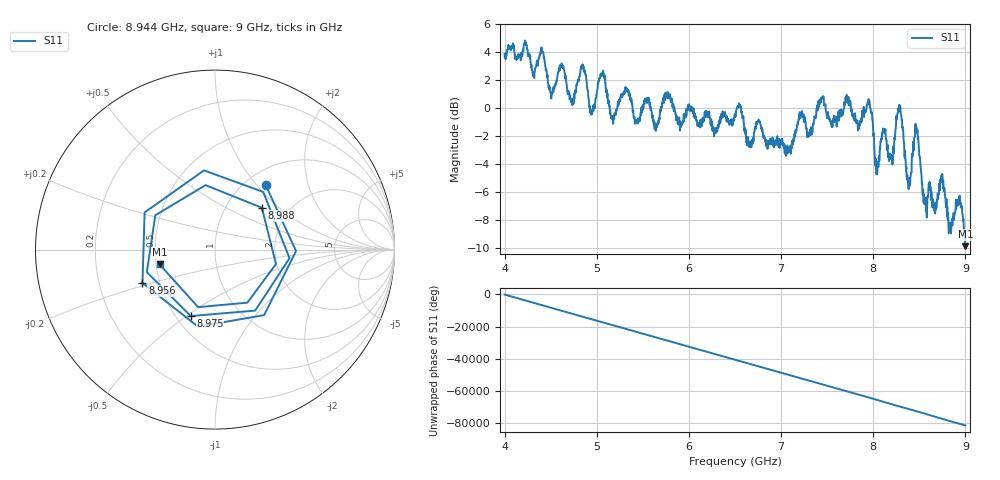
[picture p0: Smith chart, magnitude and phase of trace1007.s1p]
! Created with skrf 1.8.0 (http://scikit-rf.org).
# Hz S RI R 50.0
!freq ReS11 ImS11
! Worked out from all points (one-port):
!   1601 points, 4 GHz to 9 GHz, reference 50 ohm
!   lowest |S11| = -9.9 dB at 9 GHz (marker M1), VSWR 1.94, Z = 26.1 - j4.77 ohm
!   |S11| at or under -10 dB: nowhere
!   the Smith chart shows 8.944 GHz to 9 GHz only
!   S11 on the Smith chart (normalised r, x): 8.944 GHz: 1.22, +1.12; 8.956 GHz: 0.40, -0.19; 8.975 GHz: 0.59, -0.52; 8.988 GHz: 1.46, +0.78; 9 GHz: 0.52, -0.10
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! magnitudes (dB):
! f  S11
! 4 GHz  3.9
! 4.406 GHz  4.2
! 4.503 GHz  1.0
! 4.625 GHz  3.0
! 4.731 GHz  0.4
! 4.847 GHz  3.1
! 4.944 GHz  -0.5
! 5.053 GHz  2.4
! 5.166 GHz  -0.6
! 5.25 GHz  0.6
! 5.875 GHz  -0.7
! 6.5 GHz  -0.7
! 7.125 GHz  -2.6
! 7.438 GHz  0.7
! 7.75 GHz  0.5
! 7.959 GHz  0.5
! 8.044 GHz  -4.7
! 8.109 GHz  -1.6
! 8.197 GHz  -3.6
! 8.288 GHz  0.1
! 8.375 GHz  -5.3
! 8.469 GHz  -1.4
! 8.559 GHz  -6.9
! 8.944 GHz  -6.8
! 8.956 GHz  -7.0
! 8.975 GHz  -8.1
! 8.988 GHz  -9.1
! 9 GHz  -9.9
